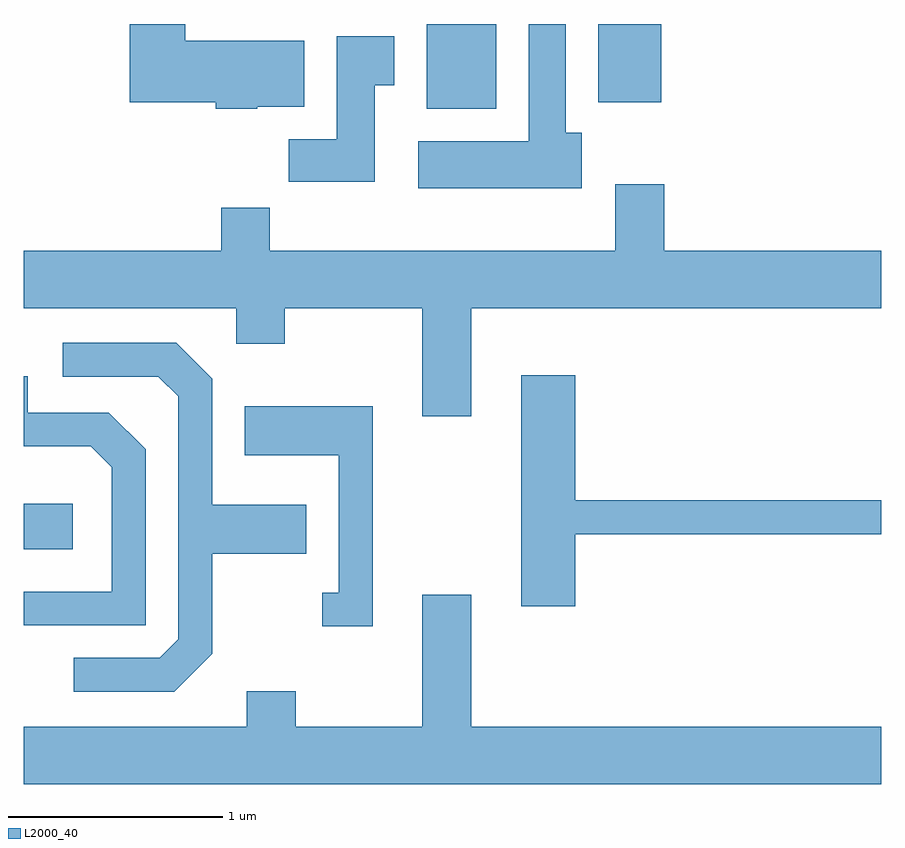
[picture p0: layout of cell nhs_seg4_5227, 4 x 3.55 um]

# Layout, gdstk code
import gdstk
lib = gdstk.Library(unit=1e-6, precision=1e-09)
def R(c, l, rs):  # rectangles x0, y0, x1, y1
    for r in rs: c.add(gdstk.rectangle(r[:2], r[2:], *l))
def P(c, l, *ps):  # polygons
    for p in ps: c.add(gdstk.Polygon(p, *l))
L2000_40 = (2000, 40)

nhs_seg4_5227 = lib.new_cell('nhs_seg4_5227')
R(nhs_seg4_5227, L2000_40, [(337.611,1373.531,337.839,1373.744), (339.491,1375.586,339.814,1375.982), (340.291,1375.616,340.584,1375.982)])
P(nhs_seg4_5227, L2000_40, [(338.7,1375.596),(338.919,1375.596),(338.919,1375.904),(338.364,1375.904),(338.364,1375.982),(338.106,1375.982),(338.106,1375.616),(338.506,1375.616),(338.506,1375.586),(338.7,1375.586)],
  [(340.214,1375.474),(340.139,1375.474),(340.139,1375.982),(339.966,1375.982),(339.966,1375.434),(339.451,1375.434),(339.451,1375.216),(340.214,1375.216)],
  [(339.249,1375.696),(339.339,1375.696),(339.339,1375.924),(339.071,1375.924),(339.071,1375.444),(338.846,1375.444),(338.846,1375.246),(339.249,1375.246)],
  [(339.699,1374.656),(341.611,1374.656),(341.611,1374.924),(340.599,1374.924),(340.599,1375.234),(340.371,1375.234),(340.371,1374.924),(338.759,1374.924),(338.759,1375.124),(338.531,1375.124),(338.531,1374.924),(337.611,1374.924),(337.611,1374.656),(338.601,1374.656),(338.601,1374.491),(338.829,1374.491),(338.829,1374.656),(339.471,1374.656),(339.471,1374.151),(339.699,1374.151)],
  [(338.489,1373.044),(338.489,1373.511),(338.929,1373.511),(338.929,1373.739),(338.489,1373.739),(338.489,1374.327),(338.322,1374.494),(337.793,1374.494),(337.793,1374.336),(338.239,1374.336),(338.331,1374.244),(338.331,1373.112),(338.244,1373.024),(337.843,1373.024),(337.843,1372.866),(338.312,1372.866)],
  [(340.184,1373.601),(341.611,1373.601),(341.611,1373.759),(340.184,1373.759),(340.184,1374.344),(339.931,1374.344),(339.931,1373.266),(340.184,1373.266)],
  [(338.179,1373.997),(338.007,1374.169),(337.629,1374.169),(337.629,1374.339),(337.611,1374.339),(337.611,1374.011),(337.924,1374.011),(338.021,1373.914),(338.021,1373.334),(337.611,1373.334),(337.611,1373.176),(338.179,1373.176)],
  [(339.239,1374.199),(338.641,1374.199),(338.641,1373.971),(339.081,1373.971),(339.081,1373.329),(339.003,1373.329),(339.003,1373.171),(339.239,1373.171)],
  [(341.611,1372.704),(339.699,1372.704),(339.699,1373.319),(339.471,1373.319),(339.471,1372.704),(338.879,1372.704),(338.879,1372.869),(338.651,1372.869),(338.651,1372.704),(337.611,1372.704),(337.611,1372.436),(341.611,1372.436)])

lib.write_gds('nhs_seg4_5227.gds')
